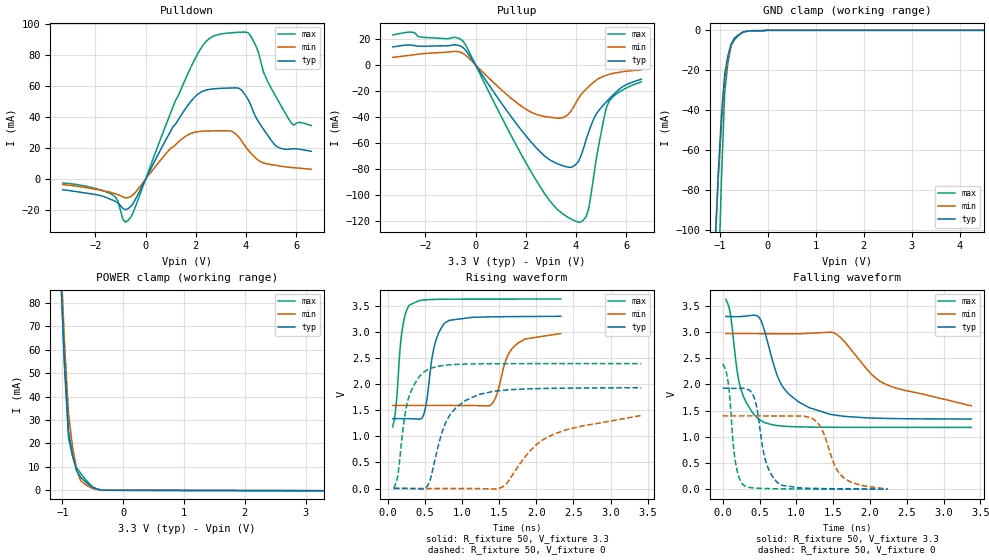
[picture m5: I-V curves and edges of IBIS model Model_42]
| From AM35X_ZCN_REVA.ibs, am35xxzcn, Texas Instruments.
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| Model based on original model for BC1833DV40CTPBFZP18LL_7LM_X50
|   Sub model LL_7LM_X50_PU_ON_3P3
[model]   Model_42
|[Description]  3.3V-I/O-PU-X
|[Input Load]   PU
|[Output Drive]
|Voltage   3.3V
|Mode   I/O
Model_type   I/O
Polarity   Non-Inverting
Enable   Active-Low
Vinl =  0.8V
Vinh =  2V
Cref =  15pF
Rref =  100.0000M
Vref =  0V
Vmeas =  1.65
C_comp   1.943144p   1.721292p   2.064363p
[Model Spec]
Vinl   0.8V   0.8V   0.8V
Vinh   2V   2V   2V
[Temperature Range]   25   125   -40
[Voltage Range]   3.3   2.97   3.63
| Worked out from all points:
|   slope of the pulldown table from 0 to 0.495 V, typ, clamps not added: 31.5 ohm
|   slope of the pullup table from 0 to 0.495 V, typ, clamps not added: 34.6 ohm
|   GND clamp passes 1 mA (typ) near -0.52 V on its own axis
|   POWER clamp passes 1 mA (typ) near -0.48 V on its own axis
|   rising waveform, R_fixture 50, V_fixture 3.3: 20-80 % time 136ps typ, 201ps min, 88.9ps max; typ from 1.34 V to 3.3 V
|   rising waveform, R_fixture 50, V_fixture 0: 20-80 % time 309ps typ, 703ps min, 174ps max; typ from 0.003 V to 1.93 V
|   falling waveform, R_fixture 50, V_fixture 3.3: 20-80 % time 383ps typ, 815ps min, 190ps max; typ from 3.3 V to 1.34 V
|   falling waveform, R_fixture 50, V_fixture 0: 20-80 % time 158ps typ, 244ps min, 92.5ps max; typ from 1.93 V to 0.003 V
[POWER_clamp]
-3.3V     2.432A     2.868A     2.62A
-1.033V   95.08mA    103.2mA    96.86mA
-966.7mV  54.92mA    63.38mA    53.02mA
-900mV    25.2mA     32.75mA    22.32mA
-833.3mV  14.73mA    18.43mA    14.71mA
-766.7mV  8.199mA    8.88mA     9.664mA
-700mV    5.588mA    4.11mA     7.196mA
-566.7mV  2.492mA    1.585mA    3.092mA
-500mV    1.193mA    763uA      1.348mA
-433.3mV  535.3uA    364.9uA    567.5uA
-300mV    28.66uA    27.24uA    30.96uA
3.3V      -177.5uA   -143.2uA   -277.3uA
[Pulldown]
-3.3V     -6.73mA    -3.436mA   -2.446mA
-1.3V     -13.54mA   -8.893mA   -10.15mA
-900mV    -18.86mA   -11.4mA    -25.9mA
-700mV    -18.9mA    -11.82mA   -26.47mA
1V        30.96mA    19.89mA    42.74mA
1.9V      51.83mA    29.94mA    75.14mA
2.9V      58.3mA     31.12mA    92.92mA
3.5V      58.67mA    30.17mA    94.2mA
4.1V      50.73mA    18.46mA    93.88mA
5.1V      22.94mA    9.149mA    55.64mA
5.8V      19.5mA     7.56mA     36.23mA
6.6V      17.91mA    6.449mA    34.47mA
[Pullup]
-3.3V     13.88mA    5.843mA    23.08mA
-2.5V     15.16mA    7.729mA    25.2mA
-500mV    13.47mA    8.99mA     18.39mA
1.4V      -39.27mA   -25.27mA   -53.66mA
2.4V      -63.29mA   -37.81mA   -88.19mA
3.5V      -77.61mA   -40.33mA   -114.8mA
4.1V      -73.95mA   -25.59mA   -120.8mA
4.5V      -51.77mA   -16.71mA   -110.9mA
4.9V      -35.15mA   -10.47mA   -62.03mA
5.2V      -28.48mA   -7.948mA   -33.38mA
5.3V      -26.46mA   -7.311mA   -28.43mA
6.6V      -10.91mA   -3.736mA   -12.96mA
[GND_clamp]
-3.3V     -2.048A    -1.805A    -3.667A
-1.1V     -108.7mA   -106.5mA   -191.5mA
-1.033V   -71.21mA   -74.08mA   -127.8mA
-966.7mV  -42.28mA   -46.87mA   -74.43mA
-900mV    -21.88mA   -24.94mA   -31.36mA
-833.3mV  -12.75mA   -14.54mA   -16.38mA
-766.7mV  -6.878mA   -7.548mA   -7.563mA
-700mV    -4.259mA   -3.966mA   -4.917mA
-566.7mV  -1.601mA   -1.571mA   -1.659mA
-500mV    -700.3uA   -785.2uA   -703.8uA
-33.33mV  0A         0A         0A
6.6V      0A         0A         0A
[Ramp]
dV/dt_f  1.1889844/0.37568541n 0.84311969/0.79998787n  1.4742218/0.18981294n
dV/dt_r  1.1650184/0.30789833n  0.8454593/0.7011035n  1.4416199/0.17225835n
R_load = 50
[Rising Waveform]
R_fixture = 50
V_fixture = 3.3
V_fixture_min = 2.97
V_fixture_max = 3.63
67.21ps   1.34V      1.592V     1.181V
111.5ps   1.34V      1.592V     1.576V
186ps     1.34V      1.592V     2.948V
290ps     1.339V     1.592V     3.514V
479.6ps   1.399V     1.592V     3.611V
625.7ps   2.715V     1.592V     3.623V
774.3ps   3.176V     1.592V     3.627V
1.38ns    3.289V     1.594V     3.63V
1.708ns   3.294V     2.731V     3.63V
2.331ns   3.3V       2.97V      3.63V
[Rising Waveform]
R_fixture = 50
V_fixture = 0
V_fixture_min = 0
V_fixture_max = 0
81.57ps   3.383mV    2.143mV    4.747mV
138.4ps   3.383mV    2.144mV    274.8mV
219.1ps   3.398mV    2.143mV    1.288V
274.6ps   3.147mV    2.143mV    1.704V
542.5ps   70.65mV    2.143mV    2.281V
798.8ps   1.317V     2.143mV    2.366V
1.222ns   1.801V     603.4uV    2.389V
1.562ns   1.884V     48.27mV    2.393V
2.234ns   1.921V     1.042V     2.394V
3.415ns   1.931V     1.401V     2.394V
[Falling Waveform]
R_fixture = 50
V_fixture = 3.3
V_fixture_min = 2.97
V_fixture_max = 3.63
42.67ps   3.3V       2.97V      3.63V
103.2ps   3.296V     2.97V      3.351V
192.7ps   3.294V     2.97V      2.295V
252.6ps   3.297V     2.97V      1.887V
541.5ps   3.14V      2.97V      1.292V
796.8ps   1.998V     2.967V     1.208V
1.173ns   1.558V     2.977V     1.187V
1.538ns   1.413V     2.965V     1.182V
2.214ns   1.352V     2.003V     1.181V
3.376ns   1.34V      1.592V     1.181V
[Falling Waveform]
R_fixture = 50
V_fixture = 0
V_fixture_min = 0
V_fixture_max = 0
0s        1.931V     1.401V     2.394V
79.22ps   1.927V     1.401V     1.986V
178.8ps   1.926V     1.401V     473mV
286.6ps   1.928V     1.401V     74.46mV
427.7ps   1.745V     1.401V     24.87mV
573.8ps   591.4mV    1.4V       14.2mV
739.3ps   132.8mV    1.399V     9.301mV
1.245ns   16.48mV    1.325V     5.022mV
1.629ns   8.632mV    237.6mV    4.781mV
2.238ns   3.383mV    2.143mV    4.747mV
